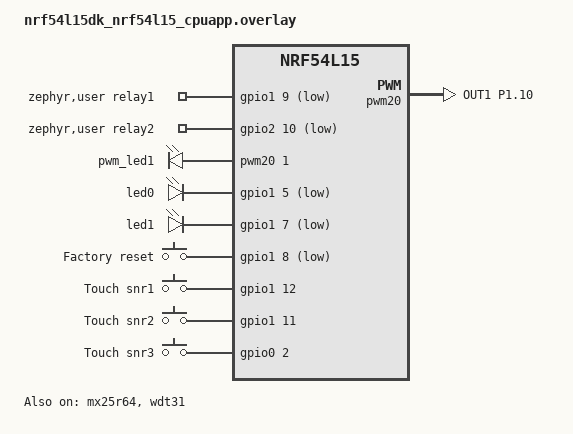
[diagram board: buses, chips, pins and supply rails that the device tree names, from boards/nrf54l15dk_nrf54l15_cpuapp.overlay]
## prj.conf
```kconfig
#
# Copyright (c) 2021 Nordic Semiconductor ASA
#
# SPDX-License-Identifier: LicenseRef-Nordic-5-Clause
#

# Enable CHIP
CONFIG_CHIP=y
CONFIG_CHIP_PROJECT_CONFIG="src/chip_project_config.h"

# Configure ZAP file name
CONFIG_NCS_SAMPLE_MATTER_ZAP_FILE_PATH="${APPLICATION_CONFIG_DIR}/src/default_zap/light_switch.zap"

# 32771 == 0x8001 (light-switch-app)
CONFIG_CHIP_DEVICE_PRODUCT_ID=32771
CONFIG_STD_CPP17=y

# Enable Matter pairing automatically on application start.
CONFIG_CHIP_ENABLE_PAIRING_AUTOSTART=y

# Enable Matter extended announcement and increase duration to 1 hour.
CONFIG_CHIP_BLE_EXT_ADVERTISING=y
CONFIG_CHIP_BLE_ADVERTISING_DURATION=60

# Add support for LEDs and buttons on Nordic development kits
CONFIG_DK_LIBRARY=y

# Bluetooth Low Energy configuration
CONFIG_BT_DEVICE_NAME="MatterSwitch"

# Suspend devices when the CPU goes into sleep
CONFIG_PM_DEVICE=y

# Other settings
CONFIG_THREAD_NAME=y
CONFIG_MPU_STACK_GUARD=y
CONFIG_RESET_ON_FATAL_ERROR=n
CONFIG_CHIP_LIB_SHELL=y
CONFIG_NCS_SAMPLE_MATTER_TEST_SHELL=y

# Reduce application size
CONFIG_USE_SEGGER_RTT=n
CONFIG_MATTER_LOG_LEVEL_INF=y
CONFIG_CHIP_APP_LOG_LEVEL=3

# Enable Factory Data feature
CONFIG_CHIP_FACTORY_DATA=y
CONFIG_CHIP_FACTORY_DATA_BUILD=y

# Disable APPROTECT for development
CONFIG_NRF_APPROTECT_USE_UICR=n
# CONFIG_NRF_APPROTECT_LOCK is not set

# Mote boards use an external 32 kHz crystal as LFCLK
CONFIG_CLOCK_CONTROL_NRF_K32SRC_XTAL=y
```

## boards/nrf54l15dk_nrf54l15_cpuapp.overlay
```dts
/*
 * Copyright (c) 2024 Nordic Semiconductor ASA
 *
 * SPDX-License-Identifier: LicenseRef-Nordic-5-Clause
 */


/ {
	chosen {
		nordic,pm-ext-flash = &mx25r64;
	};

	aliases {
		// Configure PWM module for led1 (LED2 on the board)
		pwm-led1 = &pwm_led1;

		// Use watchdog wdt31 as the application watchdog
		watchdog0 = &wdt31;
	};

	/* Relay control pins - same mote hardware as light_bulb_mote */
	zephyr,user {
		relay1-gpios = <&gpio1 9 GPIO_ACTIVE_LOW>;
		relay2-gpios = <&gpio2 10 GPIO_ACTIVE_LOW>;
	};

	pwmleds {
		compatible = "pwm-leds";
		pwm_led1: pwm_led_1 {
			pwms = <&pwm20 1 PWM_MSEC(20) PWM_POLARITY_NORMAL>;
		};
	};
};

// restore full RRAM and SRAM space - by default some parts are dedicated to FLRP
&cpuapp_rram {
	reg = <0x0 DT_SIZE_K(1524)>;
};

&cpuapp_sram {
	reg = <0x20000000 DT_SIZE_K(256)>;
	ranges = <0x0 0x20000000  0x40000>;
};

// TODO: re-enable HWFC once it's fixed
&uart20 {
	/delete-property/ hw-flow-control;
};

&mx25r64 {
	status = "okay";
};

&pwm20 {
	status = "okay";
	pinctrl-0 = <&pwm_default>;
	pinctrl-1 = <&pwm_sleep>;
	pinctrl-names = "default", "sleep";
};

&pinctrl {
	pwm_default: pwm_default {
		group1 {
			psels = <NRF_PSEL(PWM_OUT1, 1, 10)>;
		};
	};
	pwm_sleep: pwm_sleep {
		group1 {
			psels = <NRF_PSEL(PWM_OUT1, 1, 10)>;
			low-power-enable;
		};
	};
};

&wdt31 {
	status = "okay";
};

&clock {
	status = "okay";
};

&led0 {
	gpios = <&gpio1 5 GPIO_ACTIVE_LOW>;
};
&led1 {
	gpios = <&gpio1 7 GPIO_ACTIVE_LOW>;
};
&led2 {
	status = "disabled";
};
&led3 {
	status = "disabled";
};

/*
 * Shared with light_bulb_mote: P1.08 = function / factory reset (DK_BTN1).
 * Switch-specific touch sensors:
 *   snr1 P1.12 -> button1 endpoint 1
 *   snr2 P1.11 -> button2 endpoint 2
 *   snr3 P0.02 -> button3 endpoint 3
 */
&button0 {
	gpios = <&gpio1 8 GPIO_ACTIVE_LOW>;
	label = "Factory reset";
	status = "okay";
};

&button1 {
	gpios = <&gpio1 12 (GPIO_PULL_DOWN | GPIO_ACTIVE_HIGH)>;
	label = "Touch snr1";
	status = "okay";
};

&button2 {
	gpios = <&gpio1 11 (GPIO_PULL_DOWN | GPIO_ACTIVE_HIGH)>;
	label = "Touch snr2";
	status = "okay";
};

&button3 {
	gpios = <&gpio0 2 (GPIO_PULL_DOWN | GPIO_ACTIVE_HIGH)>;
	label = "Touch snr3";
	status = "okay";
};
```

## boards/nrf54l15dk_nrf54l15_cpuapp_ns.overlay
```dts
/*
 * Copyright (c) 2024 Nordic Semiconductor ASA
 *
 * SPDX-License-Identifier: LicenseRef-Nordic-5-Clause
 */

 / {
	aliases {
		// Configure PWM module for led1 (LED2 on the board)
		pwm-led1 = &pwm_led1;

		// Use watchdog wdt31 as the application watchdog
		watchdog0 = &wdt31;
	};

	chosen {
		nordic,pm-ext-flash = &mx25r64;
	};

	/* Relay control pins - same mote hardware as light_bulb_mote */
	zephyr,user {
		relay1-gpios = <&gpio1 9 GPIO_ACTIVE_LOW>;
		relay2-gpios = <&gpio2 10 GPIO_ACTIVE_LOW>;
	};

	pwmleds {
		compatible = "pwm-leds";
		pwm_led1: pwm_led_1 {
			pwms = <&pwm20 1 PWM_MSEC(20) PWM_POLARITY_NORMAL>;
		};
	};
};

// restore full RRAM and SRAM space - by default some parts are dedicated to FLRP
&cpuapp_rram {
	reg = <0x0 DT_SIZE_K(1524)>;
};

&cpuapp_sram {
	reg = <0x20000000 DT_SIZE_K(256)>;
	ranges = <0x0 0x20000000  0x40000>;
};

// TODO: re-enable HWFC once it's fixed
&uart20 {
	/delete-property/ hw-flow-control;
};

&mx25r64 {
	status = "okay";
};

&pwm20 {
	status = "disabled";
	pinctrl-0 = <&pwm_default>;
	pinctrl-1 = <&pwm_sleep>;
	pinctrl-names = "default", "sleep";
};

&pinctrl {
	pwm_default: pwm_default {
		group1 {
			psels = <NRF_PSEL(PWM_OUT1, 1, 10)>;
		};
	};
	pwm_sleep: pwm_sleep {
		group1 {
			psels = <NRF_PSEL(PWM_OUT1, 1, 10)>;
			low-power-enable;
		};
	};

	uart20_default: uart20_default {
		group1 {
			psels = <NRF_PSEL(UART_TX, 1, 4)>;
		};

		group2 {
			psels = <NRF_PSEL(UART_RX, 1, 5)>;
			bias-pull-up;
		};
	};

	uart20_sleep: uart20_sleep {
		group1 {
			psels = <NRF_PSEL(UART_TX, 1, 4)>,
				<NRF_PSEL(UART_RX, 1, 5)>;
			low-power-enable;
		};
	};
};

&wdt31 {
	status = "okay";
};

// Change IRQ ids to handle button interrupts.

// The default values for nRF54L15 are 219 and 269,
// but with TF-M they are reserved for the secure domain
// (218 and 268 are reserved for the non-secure domain).
&gpiote20 {
	interrupts = <218 NRF_DEFAULT_IRQ_PRIORITY>;
};

&gpiote30 {
	interrupts = <268 NRF_DEFAULT_IRQ_PRIORITY>;
};

&clock {
	status = "okay";
};

&led0 {
	gpios = <&gpio1 5 GPIO_ACTIVE_LOW>;
};
&led1 {
	gpios = <&gpio1 7 GPIO_ACTIVE_LOW>;
};
/* Disable led2 and led3 since they are used as relay control pins */
&led2 {
	status = "disabled";
};

&led3 {
	status = "disabled";
};

/*
 * Shared with light_bulb_mote: P1.08 = function / factory reset (DK_BTN1).
 * Switch-specific touch sensors (ACTIVE_HIGH):
 *   snr1 P1.12 -> button1 (DK_BTN2) Matter endpoint 1
 *   snr2 P1.11 -> button2 (DK_BTN3) Matter endpoint 2
 *   snr3 P0.02 -> button3 (DK_BTN4) Matter endpoint 3
 */
&button0 {
	gpios = <&gpio1 8 GPIO_ACTIVE_LOW>;
	label = "Factory reset";
	status = "okay";
};

&button1 {
	gpios = <&gpio1 12 (GPIO_PULL_DOWN | GPIO_ACTIVE_HIGH)>;
	label = "Touch snr1";
	status = "okay";
};

&button2 {
	gpios = <&gpio1 11 (GPIO_PULL_DOWN | GPIO_ACTIVE_HIGH)>;
	label = "Touch snr2";
	status = "okay";
};

&button3 {
	gpios = <&gpio0 2 (GPIO_PULL_DOWN | GPIO_ACTIVE_HIGH)>;
	label = "Touch snr3";
	status = "okay";
};
```

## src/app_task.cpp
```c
/*
 * Copyright (c) 2022 Nordic Semiconductor ASA
 *
 * SPDX-License-Identifier: LicenseRef-Nordic-5-Clause
 */

#include "app_task.h"

#include "light_switch.h"

#include "app/matter_init.h"
#include "app/task_executor.h"
#include "board/board.h"

#include <app/clusters/identify-server/identify-server.h>
#include <setup_payload/OnboardingCodesUtil.h>

#include <zephyr/logging/log.h>

LOG_MODULE_DECLARE(app, CONFIG_CHIP_APP_LOG_LEVEL);

using namespace ::chip;
using namespace ::chip::app;
using namespace ::chip::DeviceLayer;

namespace
{
constexpr uint32_t kDimmerTriggeredTimeout = 500;
constexpr uint32_t kDimmerInterval = 300;

k_timer sDimmerPressKeyTimer;
k_timer sDimmerTimer;

Identify sIdentify1 = { LightSwitch::kSwitchEndpointMin, AppTask::IdentifyStartHandler, AppTask::IdentifyStopHandler,
			Clusters::Identify::IdentifyTypeEnum::kVisibleIndicator };
Identify sIdentify2 = { static_cast<EndpointId>(LightSwitch::kSwitchEndpointMin + 1), AppTask::IdentifyStartHandler,
			AppTask::IdentifyStopHandler, Clusters::Identify::IdentifyTypeEnum::kVisibleIndicator };
Identify sIdentify3 = { LightSwitch::kSwitchEndpointMax, AppTask::IdentifyStartHandler, AppTask::IdentifyStopHandler,
			Clusters::Identify::IdentifyTypeEnum::kVisibleIndicator };

bool sWasDimmerTriggered = false;
EndpointId sActiveSwitchEndpoint = LightSwitch::kSwitchEndpointMin;

/*
 * P1.08 -> DK_BTN1 / button0 : factory reset (Board), same pin as light_bulb_mote
 * snr1 P1.12 -> DK_BTN2 / button1 -> Matter endpoint 1
 * snr2 P1.11 -> DK_BTN3 / button2 -> Matter endpoint 2
 * snr3 P0.02 -> DK_BTN4 / button3 -> Matter endpoint 3
 */
#define SWITCH1_BUTTON_MASK DK_BTN2_MSK
#define SWITCH2_BUTTON_MASK DK_BTN3_MSK
#define SWITCH3_BUTTON_MASK DK_BTN4_MSK
#define SWITCH_BUTTONS_MASK (SWITCH1_BUTTON_MASK | SWITCH2_BUTTON_MASK | SWITCH3_BUTTON_MASK)

EndpointId EndpointFromButtonMask(Nrf::ButtonMask mask)
{
	if (mask & SWITCH1_BUTTON_MASK) {
		return 1;
	}
	if (mask & SWITCH2_BUTTON_MASK) {
		return 2;
	}
	if (mask & SWITCH3_BUTTON_MASK) {
		return 3;
	}
	return LightSwitch::kSwitchEndpointMin;
}
} /* namespace */

void AppTask::DimmerTriggerEventHandler()
{
	LightSwitch::GetInstance().SetCurrentSwitchEndpoint(sActiveSwitchEndpoint);

	if (!sWasDimmerTriggered) {
		LightSwitch::GetInstance().InitiateActionSwitch(sActiveSwitchEndpoint, LightSwitch::Action::Toggle);
	}

	Instance().CancelTimer(Timer::Dimmer);
	Instance().CancelTimer(Timer::DimmerTrigger);
	sWasDimmerTriggered = false;
}

void AppTask::TimerEventHandler(const Timer &timerType)
{
	switch (timerType) {
	case Timer::DimmerTrigger:
		LOG_INF("Dimming started on endpoint %u...", sActiveSwitchEndpoint);
		sWasDimmerTriggered = true;
		LightSwitch::GetInstance().SetCurrentSwitchEndpoint(sActiveSwitchEndpoint);
		LightSwitch::GetInstance().InitiateActionSwitch(sActiveSwitchEndpoint, LightSwitch::Action::On);
		Instance().StartTimer(Timer::Dimmer, kDimmerInterval);
		Instance().CancelTimer(Timer::DimmerTrigger);
		break;
	case Timer::Dimmer:
		LightSwitch::GetInstance().DimmerChangeBrightness(sActiveSwitchEndpoint);
		break;
	default:
		break;
	}
}

void AppTask::IdentifyStartHandler(Identify *)
{
	Nrf::PostTask(
		[] { Nrf::GetBoard().GetLED(Nrf::DeviceLeds::LED2).Blink(Nrf::LedConsts::kIdentifyBlinkRate_ms); });
}

void AppTask::IdentifyStopHandler(Identify *)
{
	Nrf::PostTask([] { Nrf::GetBoard().GetLED(Nrf::DeviceLeds::LED2).Set(false); });
}

void AppTask::ButtonEventHandler(Nrf::ButtonState state, Nrf::ButtonMask hasChanged)
{
	const Nrf::ButtonMask switchChanged = hasChanged & SWITCH_BUTTONS_MASK;
	if (!switchChanged) {
		return;
	}

	const EndpointId endpoint = EndpointFromButtonMask(switchChanged);
	sActiveSwitchEndpoint = endpoint;
	LightSwitch::GetInstance().SetCurrentSwitchEndpoint(endpoint);

	if (switchChanged & state) {
		LOG_INF("snr%u (endpoint %u) pressed; hold >= 500 ms to dim bound lights.", endpoint, endpoint);
		Instance().StartTimer(Timer::DimmerTrigger, kDimmerTriggeredTimeout);
	} else {
		Nrf::PostTask([] { DimmerTriggerEventHandler(); });
	}
}

void AppTask::StartTimer(Timer timer, uint32_t timeoutMs)
{
	switch (timer) {
	case Timer::DimmerTrigger:
		k_timer_start(&sDimmerPressKeyTimer, K_MSEC(timeoutMs), K_NO_WAIT);
		break;
	case Timer::Dimmer:
		k_timer_start(&sDimmerTimer, K_MSEC(timeoutMs), K_MSEC(timeoutMs));
		break;
	default:
		break;
	}
}

void AppTask::CancelTimer(Timer timer)
{
	switch (timer) {
	case Timer::DimmerTrigger:
		k_timer_stop(&sDimmerPressKeyTimer);
		break;
	case Timer::Dimmer:
		k_timer_stop(&sDimmerTimer);
		break;
	default:
		break;
	}
}

void AppTask::UserTimerTimeoutCallback(k_timer *timer)
{
	if (!timer) {
		return;
	}
	Timer timerType;

	if (timer == &sDimmerPressKeyTimer) {
		timerType = Timer::DimmerTrigger;
	} else if (timer == &sDimmerTimer) {
		timerType = Timer::Dimmer;
	} else {
		return;
	}

	Nrf::PostTask([timerType]() { TimerEventHandler(timerType); });
}

CHIP_ERROR AppTask::Init()
{
	/* Keep Identify instances alive for endpoints 1–3. */
	(void)sIdentify1;
	(void)sIdentify2;
	(void)sIdentify3;

	/* Initialize Matter stack */
	ReturnErrorOnFailure(Nrf::Matter::PrepareServer(Nrf::Matter::InitData{ .mPostServerInitClbk = [] {
		LightSwitch::GetInstance().Init();
		return CHIP_NO_ERROR;
	} }));

	/* Initialize application timers */
	k_timer_init(&sDimmerPressKeyTimer, AppTask::UserTimerTimeoutCallback, nullptr);
	k_timer_init(&sDimmerTimer, AppTask::UserTimerTimeoutCallback, nullptr);

	if (!Nrf::GetBoard().Init(ButtonEventHandler)) {
		LOG_ERR("User interface initialization failed.");
		return CHIP_ERROR_INCORRECT_STATE;
	}

	/* Register Matter event handler that controls the connectivity status LED based on the captured Matter network
	 * state. */
	ReturnErrorOnFailure(Nrf::Matter::RegisterEventHandler(Nrf::Board::DefaultMatterEventHandler, 0));

	return Nrf::Matter::StartServer();
}

CHIP_ERROR AppTask::StartApp()
{
	ReturnErrorOnFailure(Init());

	while (true) {
		Nrf::DispatchNextTask();
	}

	return CHIP_NO_ERROR;
}
```

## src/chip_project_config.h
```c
/*
 * Copyright (c) 2022 Nordic Semiconductor ASA
 *
 * SPDX-License-Identifier: LicenseRef-Nordic-5-Clause
 */

#pragma once

#define CHIP_CONFIG_CONTROLLER_MAX_ACTIVE_DEVICES 2

/* Enough entries for 3 switch endpoints (OnOff + LevelControl bindings each). */
#ifndef MATTER_BINDING_TABLE_SIZE
#define MATTER_BINDING_TABLE_SIZE 20
#endif
```

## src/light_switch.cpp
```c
/*
 * Copyright (c) 2022 Nordic Semiconductor ASA
 *
 * SPDX-License-Identifier: LicenseRef-Nordic-5-Clause
 */

#include "light_switch.h"
#include "binding/binding_handler.h"

#ifdef CONFIG_CHIP_LIB_SHELL
#include "shell_commands.h"
#endif

#include <app/server/Server.h>
#include <app/util/binding-table.h>
#include <controller/InvokeInteraction.h>
#include <platform/CHIPDeviceLayer.h>
#include <zephyr/logging/log.h>

using namespace chip;
using namespace chip::app;

LOG_MODULE_DECLARE(app, CONFIG_CHIP_APP_LOG_LEVEL);

bool LightSwitch::IsValidSwitchEndpoint(EndpointId endpoint)
{
	return endpoint >= kSwitchEndpointMin && endpoint <= kSwitchEndpointMax;
}

void LightSwitch::Init()
{
	Nrf::Matter::BindingHandler::Init();
#ifdef CONFIG_CHIP_LIB_SHELL
	SwitchCommands::RegisterSwitchCommands();
#endif
	mLightSwitchEndpoint = kSwitchEndpointMin;
}

void LightSwitch::SetCurrentSwitchEndpoint(EndpointId lightSwitchEndpoint)
{
	if (IsValidSwitchEndpoint(lightSwitchEndpoint)) {
		mLightSwitchEndpoint = lightSwitchEndpoint;
	} else {
		LOG_ERR("Invalid switch endpoint: %u", lightSwitchEndpoint);
	}
}

void LightSwitch::InitiateActionSwitch(Action action)
{
	InitiateActionSwitch(mLightSwitchEndpoint, action);
}

void LightSwitch::InitiateActionSwitch(EndpointId lightSwitchEndpoint, Action action)
{
	if (!IsValidSwitchEndpoint(lightSwitchEndpoint)) {
		LOG_ERR("Invalid switch endpoint: %u", lightSwitchEndpoint);
		return;
	}

	Nrf::Matter::BindingHandler::BindingData *data =
		Platform::New<Nrf::Matter::BindingHandler::BindingData>();
	if (data) {
		data->EndpointId = lightSwitchEndpoint;
		data->ClusterId = Clusters::OnOff::Id;
		data->InvokeCommandFunc = SwitchChangedHandler;
		switch (action) {
		case Action::Toggle:
			data->CommandId = Clusters::OnOff::Commands::Toggle::Id;
			break;
		case Action::On:
			data->CommandId = Clusters::OnOff::Commands::On::Id;
			break;
		case Action::Off:
			data->CommandId = Clusters::OnOff::Commands::Off::Id;
			break;
		default:
			Platform::Delete(data);
			return;
		}
		Nrf::Matter::BindingHandler::RunBoundClusterAction(data);
	}
}

void LightSwitch::DimmerChangeBrightness()
{
	DimmerChangeBrightness(mLightSwitchEndpoint);
}

void LightSwitch::DimmerChangeBrightness(EndpointId lightSwitchEndpoint)
{
	if (!IsValidSwitchEndpoint(lightSwitchEndpoint)) {
		LOG_ERR("Invalid switch endpoint: %u", lightSwitchEndpoint);
		return;
	}

	const size_t index = static_cast<size_t>(lightSwitchEndpoint - kSwitchEndpointMin);
	Nrf::Matter::BindingHandler::BindingData *data =
		Platform::New<Nrf::Matter::BindingHandler::BindingData>();
	if (data) {
		data->EndpointId = lightSwitchEndpoint;
		data->CommandId = Clusters::LevelControl::Commands::MoveToLevel::Id;
		data->ClusterId = Clusters::LevelControl::Id;
		data->InvokeCommandFunc = SwitchChangedHandler;
		/* add to brightness 3 to approximate 1% step of brightness after each call dimmer change. */
		mBrightness[index] += kOnePercentBrightnessApproximation;
		if (mBrightness[index] > kMaximumBrightness) {
			mBrightness[index] = 0;
		}
		data->Value = static_cast<uint8_t>(mBrightness[index]);
		Nrf::Matter::BindingHandler::RunBoundClusterAction(data);
	}
}

void LightSwitch::SwitchChangedHandler(const EmberBindingTableEntry &binding, OperationalDeviceProxy *deviceProxy,
				       Nrf::Matter::BindingHandler::BindingData &bindingData)
{
	if (binding.type == MATTER_MULTICAST_BINDING) {
		switch (bindingData.ClusterId) {
		case Clusters::OnOff::Id:
			OnOffProcessCommand(bindingData.CommandId, binding, nullptr, bindingData);
			break;
		case Clusters::LevelControl::Id:
			LevelControlProcessCommand(bindingData.CommandId, binding, nullptr, bindingData);
			break;
		default:
			ChipLogError(NotSpecified, "Invalid binding group command data");
			break;
		}
	} else if (binding.type == MATTER_UNICAST_BINDING) {
		switch (bindingData.ClusterId) {
		case Clusters::OnOff::Id:
			OnOffProcessCommand(bindingData.CommandId, binding, deviceProxy, bindingData);
			break;
		case Clusters::LevelControl::Id:
			LevelControlProcessCommand(bindingData.CommandId, binding, deviceProxy, bindingData);
			break;
		default:
			ChipLogError(NotSpecified, "Invalid binding unicast command data");
			break;
		}
	}
}

void LightSwitch::OnOffProcessCommand(CommandId commandId, const EmberBindingTableEntry &binding,
				      OperationalDeviceProxy *device,
				      Nrf::Matter::BindingHandler::BindingData &bindingData)
{
	CHIP_ERROR ret = CHIP_NO_ERROR;

	auto onSuccess = [dataPointer = Platform::New<Nrf::Matter::BindingHandler::BindingData>(bindingData)](
				 const ConcreteCommandPath &commandPath, const StatusIB &status,
				 const auto &dataResponse) {
		Nrf::Matter::BindingHandler::OnInvokeCommandSucces(dataPointer);
	};

	auto onFailure = [dataPointer = Platform::New<Nrf::Matter::BindingHandler::BindingData>(bindingData)](
				 CHIP_ERROR aError) mutable {
		Nrf::Matter::BindingHandler::OnInvokeCommandFailure(dataPointer, aError);
	};

	if (device) {
		/* We are validating connection is ready once here instead of multiple times in each case
		 * statement below. */
		VerifyOrDie(device->ConnectionReady());
	}

	switch (commandId) {
	case Clusters::OnOff::Commands::Toggle::Id:
		Clusters::OnOff::Commands::Toggle::Type toggleCommand;
		if (device) {
			ret = Controller::InvokeCommandRequest(device->GetExchangeManager(),
							       device->GetSecureSession().Value(), binding.remote,
							       toggleCommand, onSuccess, onFailure);
		} else {
			Messaging::ExchangeManager &exchangeMgr = Server::GetInstance().GetExchangeManager();
			ret = Controller::InvokeGroupCommandRequest(&exchangeMgr, binding.fabricIndex, binding.groupId,
								    toggleCommand);
		}
		break;

	case Clusters::OnOff::Commands::On::Id:
		Clusters::OnOff::Commands::On::Type onCommand;
		if (device) {
			ret = Controller::InvokeCommandRequest(device->GetExchangeManager(),
							       device->GetSecureSession().Value(), binding.remote,
							       onCommand, onSuccess, onFailure);
		} else {
			Messaging::ExchangeManager &exchangeMgr = Server::GetInstance().GetExchangeManager();
			ret = Controller::InvokeGroupCommandRequest(&exchangeMgr, binding.fabricIndex, binding.groupId,
								    onCommand);
		}
		break;

	case Clusters::OnOff::Commands::Off::Id:
		Clusters::OnOff::Commands::Off::Type offCommand;
		if (device) {
			ret = Controller::InvokeCommandRequest(device->GetExchangeManager(),
							       device->GetSecureSession().Value(), binding.remote,
							       offCommand, onSuccess, onFailure);
		} else {
			Messaging::ExchangeManager &exchangeMgr = Server::GetInstance().GetExchangeManager();
			ret = Controller::InvokeGroupCommandRequest(&exchangeMgr, binding.fabricIndex, binding.groupId,
								    offCommand);
		}
		break;
	default:
		LOG_DBG("Invalid binding command data - commandId is not supported");
		break;
	}
	if (CHIP_NO_ERROR != ret) {
		LOG_ERR("Invoke OnOff Command Request ERROR: %s", ErrorStr(ret));
	}
}

void LightSwitch::LevelControlProcessCommand(CommandId commandId, const EmberBindingTableEntry &binding,
					     OperationalDeviceProxy *device,
					     Nrf::Matter::BindingHandler::BindingData &bindingData)
{
	auto onSuccess = [dataPointer = Platform::New<Nrf::Matter::BindingHandler::BindingData>(bindingData)](
				 const ConcreteCommandPath &commandPath, const StatusIB &status,
				 const auto &dataResponse) {
		Nrf::Matter::BindingHandler::OnInvokeCommandSucces(dataPointer);
	};

	auto onFailure = [dataPointer = Platform::New<Nrf::Matter::BindingHandler::BindingData>(bindingData)](
				 CHIP_ERROR aError) mutable {
		Nrf::Matter::BindingHandler::OnInvokeCommandFailure(dataPointer, aError);
	};

	CHIP_ERROR ret = CHIP_NO_ERROR;

	if (device) {
		/* We are validating connection is ready once here instead of multiple times in each case
		 * statement below. */
		VerifyOrDie(device->ConnectionReady());
	}

	switch (commandId) {
	case Clusters::LevelControl::Commands::MoveToLevel::Id: {
		Clusters::LevelControl::Commands::MoveToLevel::Type moveToLevelCommand;
		moveToLevelCommand.level = bindingData.Value;
		if (device) {
			ret = Controller::InvokeCommandRequest(device->GetExchangeManager(),
							       device->GetSecureSession().Value(), binding.remote,
							       moveToLevelCommand, onSuccess, onFailure);
		} else {
			Messaging::ExchangeManager &exchangeMgr = Server::GetInstance().GetExchangeManager();
			ret = Controller::InvokeGroupCommandRequest(&exchangeMgr, binding.fabricIndex, binding.groupId,
								    moveToLevelCommand);
		}
	} break;
	default:
		LOG_DBG("Invalid binding command data - commandId is not supported");
		break;
	}
	if (CHIP_NO_ERROR != ret) {
		LOG_ERR("Invoke Group Command Request ERROR: %s", ErrorStr(ret));
	}
}
```

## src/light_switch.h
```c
/*
 * Copyright (c) 2022 Nordic Semiconductor ASA
 *
 * SPDX-License-Identifier: LicenseRef-Nordic-5-Clause
 */

#pragma once
#include <app/util/basic-types.h>
#include <lib/core/CHIPError.h>

#include "binding/binding_handler.h"

#include <atomic>

/** @class LightSwitch
 *  @brief Class for controlling CHIP light bulbs over a Thread network
 *
 *  Supports three local switch endpoints (1–3) mapped to touch sensors snr1–snr3.
 */
class LightSwitch {
public:
	static constexpr chip::EndpointId kSwitchEndpointMin = 1;
	static constexpr chip::EndpointId kSwitchEndpointMax = 3;
	static constexpr size_t kSwitchEndpointCount = 3;

	enum class Action : uint8_t {
		Toggle, /* Switch state on lighting-app device */
		On, /* Turn on light on lighting-app device */
		Off /* Turn off light on lighting-app device */
	};

	void Init();
	void SetCurrentSwitchEndpoint(chip::EndpointId lightSwitchEndpoint);
	void InitiateActionSwitch(Action action);
	void InitiateActionSwitch(chip::EndpointId lightSwitchEndpoint, Action action);
	void DimmerChangeBrightness();
	void DimmerChangeBrightness(chip::EndpointId lightSwitchEndpoint);
	chip::EndpointId GetLightSwitchEndpointId() { return mLightSwitchEndpoint; }
	static void SwitchChangedHandler(const EmberBindingTableEntry &binding,
					 chip::OperationalDeviceProxy *deviceProxy,
					 Nrf::Matter::BindingHandler::BindingData &bindingData);

	static LightSwitch &GetInstance()
	{
		static LightSwitch sLightSwitch;
		return sLightSwitch;
	}

private:
	static void OnOffProcessCommand(chip::CommandId commandId, const EmberBindingTableEntry &binding,
					chip::OperationalDeviceProxy *device,
					Nrf::Matter::BindingHandler::BindingData &bindingData);
	static void LevelControlProcessCommand(chip::CommandId commandId, const EmberBindingTableEntry &binding,
					       chip::OperationalDeviceProxy *device,
					       Nrf::Matter::BindingHandler::BindingData &bindingData);
	static bool IsValidSwitchEndpoint(chip::EndpointId endpoint);

	constexpr static auto kOnePercentBrightnessApproximation = 3;
	constexpr static auto kMaximumBrightness = 254;

	chip::EndpointId mLightSwitchEndpoint = kSwitchEndpointMin;
	uint16_t mBrightness[kSwitchEndpointCount] = {};
};
```
